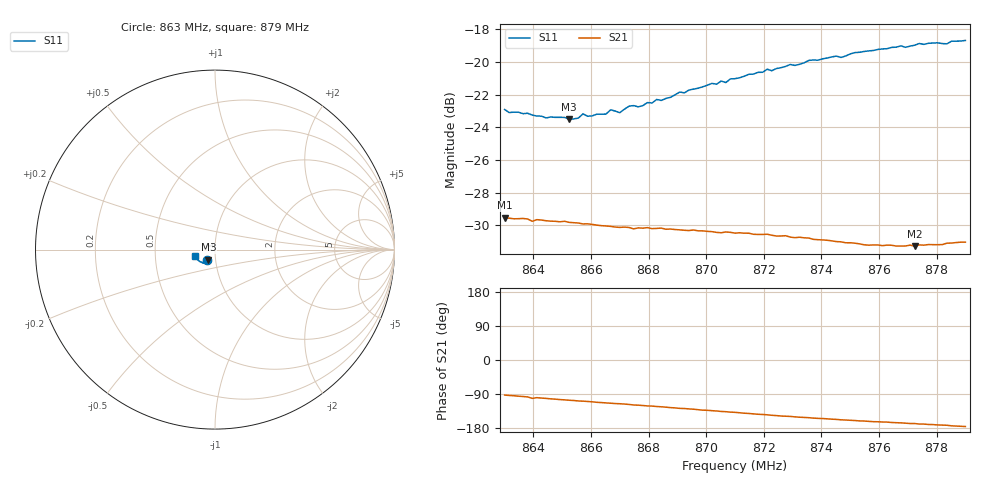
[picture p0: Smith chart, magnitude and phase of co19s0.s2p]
# HZ S RI R 50
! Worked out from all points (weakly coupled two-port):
!   101 points, 863 MHz to 879 MHz, reference 50 ohm
!   highest |S21| = -29.54 dB at 863 MHz (marker M1); lowest = -31.3 dB at 877.24 MHz (marker M2)
!   lowest |S11| = -23.5 dB at 865.24 MHz (marker M3), VSWR 1.14, Z = 46.2 - j5.17 ohm
!   |S11| at or under -10 dB: start of sweep to end of sweep
!   S12 and S22 are empty: the file has one direction only
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8.63e8  -0.0453 -0.0554  -0.00149 -0.0333  0 0  0 0
8.6316e8  -0.0443 -0.0542  -0.00205 -0.0331  0 0  0 0
8.6524e8  -0.0367 -0.0558  -0.00899 -0.031  0 0  0 0
8.6556e8  -0.0359 -0.057  -0.00999 -0.0305  0 0  0 0
8.6572e8  -0.0369 -0.0587  -0.0102 -0.0302  0 0  0 0
8.6588e8  -0.0361 -0.0579  -0.0106 -0.0301  0 0  0 0
8.6652e8  -0.0356 -0.0594  -0.0124 -0.0289  0 0  0 0
8.6668e8  -0.0366 -0.0613  -0.0128 -0.0286  0 0  0 0
8.67e8  -0.0349 -0.0606  -0.0134 -0.0281  0 0  0 0
8.6732e8  -0.0375 -0.0629  -0.0142 -0.0276  0 0  0 0
8.6764e8  -0.0343 -0.0643  -0.0151 -0.0271  0 0  0 0
8.6828e8  -0.0381 -0.0667  -0.0167 -0.026  0 0  0 0
8.6844e8  -0.0387 -0.0657  -0.0171 -0.0258  0 0  0 0
8.6908e8  -0.0422 -0.0691  -0.0187 -0.0242  0 0  0 0
8.6924e8  -0.0415 -0.0689  -0.0188 -0.024  0 0  0 0
8.71e8  -0.0509 -0.0729  -0.0222 -0.0199  0 0  0 0
8.7372e8  -0.0703 -0.0733  -0.0255 -0.0129  0 0  0 0
8.7468e8  -0.0777 -0.0681  -0.026 -0.0106  0 0  0 0
8.7516e8  -0.083 -0.0674  -0.0261 -0.00966  0 0  0 0
8.7644e8  -0.0935 -0.0597  -0.0265 -0.00714  0 0  0 0
8.7724e8  -0.0992 -0.0535  -0.0266 -0.0058  0 0  0 0
8.79e8  -0.1104 -0.0371  -0.028 -0.00216  0 0  0 0
